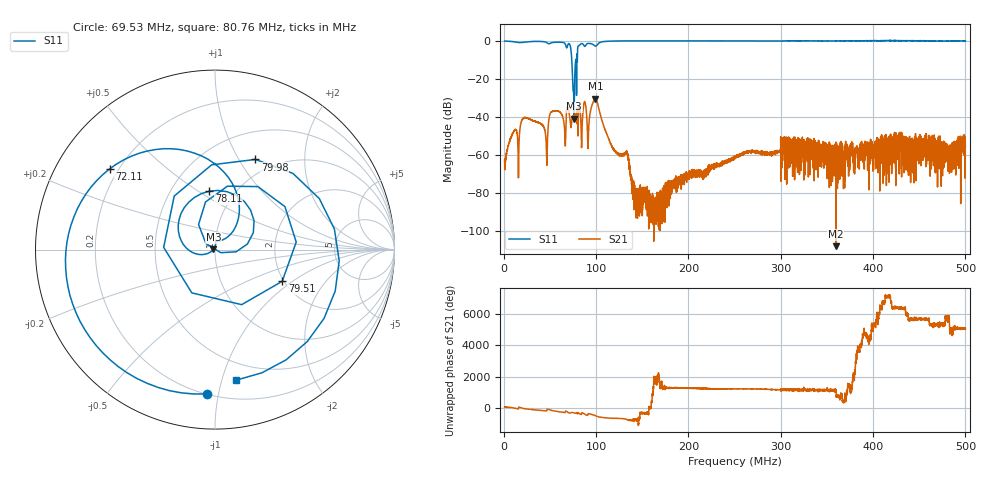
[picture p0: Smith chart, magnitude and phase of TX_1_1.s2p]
! NanoVNA-App
! Date: 2026-08-26 21:49:37
! Start: 1MHz Stop: 500MHz Points: 6401
! S-Parameter data: F S11 S21 S12 S22
# Hz S RI R 50
!  Frequency  S11_Real  S11_Imag  S21_Real  S21_Imag  S12_Real  S12_Imag  S22_Real  S22_Imag
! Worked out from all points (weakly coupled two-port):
!   6401 points, 1 MHz to 500 MHz, reference 50 ohm
!   highest |S21| = -30.45 dB at 99.24 MHz (marker M1); lowest = -108.2 dB at 359.7 MHz (marker M2)
!   lowest |S11| = -41.0 dB at 76.32 MHz (marker M3), VSWR 1.02, Z = 49.1 + j0.0982 ohm
!   |S11| at or under -10 dB: 73.73 MHz to 77.99 MHz (4.255 MHz wide, 5.61 % of centre); 78.41 MHz to 79.17 MHz (761.2 kHz wide, 0.966 % of centre); 79.61911 MHz to 79.77719 MHz (158.1 kHz wide, 0.198 % of centre)
!   S12 and S22 are empty: the file has one direction only
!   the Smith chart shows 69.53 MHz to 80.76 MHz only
!   S11 on the Smith chart (normalised r, x): 69.53 MHz: 0.20, -0.93; 72.11 MHz: 0.17, +0.33; 78.11 MHz: 0.76, +0.56; 79.51 MHz: 1.96, -0.84; 79.98 MHz: 0.82, +1.18; 80.76 MHz: 0.35, -1.11
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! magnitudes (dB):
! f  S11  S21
! 1 MHz  -0.1  -63.6
! 21.74 MHz  -0.7  -40.6
! 45.68 MHz  -0.7  -51.3
! 52.07 MHz  -0.9  -37.3
! 69.53 MHz  -1.9  -34.8
! 72.11 MHz  -2.6  -42.7
! 76.32 MHz  -41.0  -39.3
! 78.11 MHz  -9.7  -40.1
! 79.51 MHz  -7.7  -41.8
! 79.98 MHz  -5.2  -37.8
! 80.76 MHz  -2.7  -40.3
! 84.19 MHz  -1.4  -53.2
! 99.24 MHz  -2.8  -30.4
! 117.8 MHz  -0.1  -56.5
! 133.4 MHz  0.0  -58.5
! 142 MHz  0.0  -78.7
! 167.4 MHz  0.0  -94.1
! 250.5 MHz  0.0  -61.7
! 333.7 MHz  0.0  -52.8
! 359.7 MHz  0.0  -108.2
! 416.9 MHz  0.2  -65.8
! 500 MHz  0.0  -56.0
